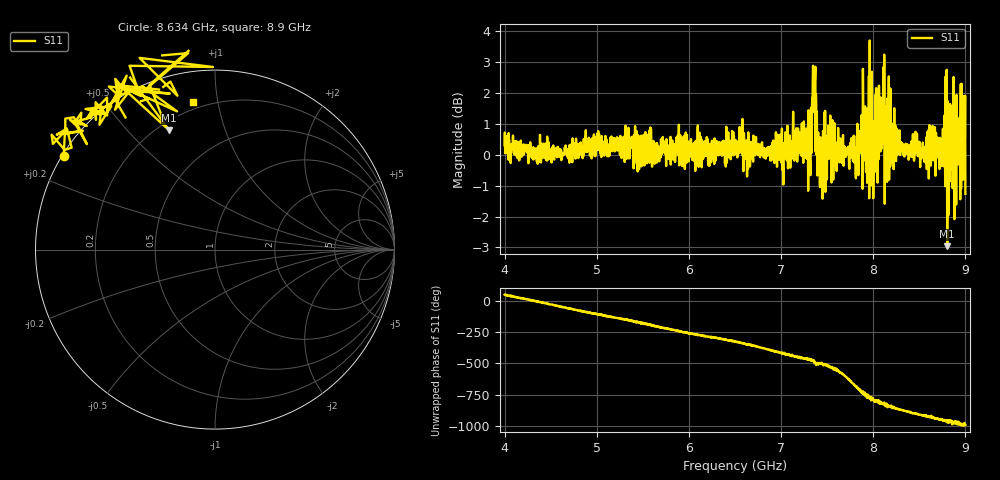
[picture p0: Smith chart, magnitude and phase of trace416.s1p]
! Created with skrf 1.8.0 (http://scikit-rf.org).
# Hz S RI R 50.0
!freq ReS11 ImS11
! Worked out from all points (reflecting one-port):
!   1601 points, 4 GHz to 9 GHz, reference 50 ohm
!   lowest |S11| = -3.0 dB at 8.803 GHz (marker M1), VSWR 5.93, Z = 12.3 + j33 ohm
!   phase of S11 starts at 52 deg and turns -1046 deg over the sweep
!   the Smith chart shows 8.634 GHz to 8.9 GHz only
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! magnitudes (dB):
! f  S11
! 4 GHz  0.3
! 4.625 GHz  0.0
! 5.25 GHz  0.0
! 5.875 GHz  0.2
! 6.5 GHz  0.3
! 7.125 GHz  0.1
! 7.297 GHz  1.4
! 7.356 GHz  2.3
! 7.409 GHz  0.6
! 7.441 GHz  0.3
! 7.512 GHz  0.9
! 7.75 GHz  0.0
! 7.831 GHz  0.5
! 7.894 GHz  0.3
! 7.962 GHz  3.7
! 7.997 GHz  0.5
! 8.05 GHz  1.8
! 8.066 GHz  1.1
! 8.097 GHz  0.8
! 8.15 GHz  -0.9
! 8.181 GHz  1.0
! 8.197 GHz  0.7
! 8.375 GHz  0.2
! 8.544 GHz  0.1
! 8.656 GHz  0.7
! 8.803 GHz  -3.0
! 8.972 GHz  0.8
! 9 GHz  -1.3
